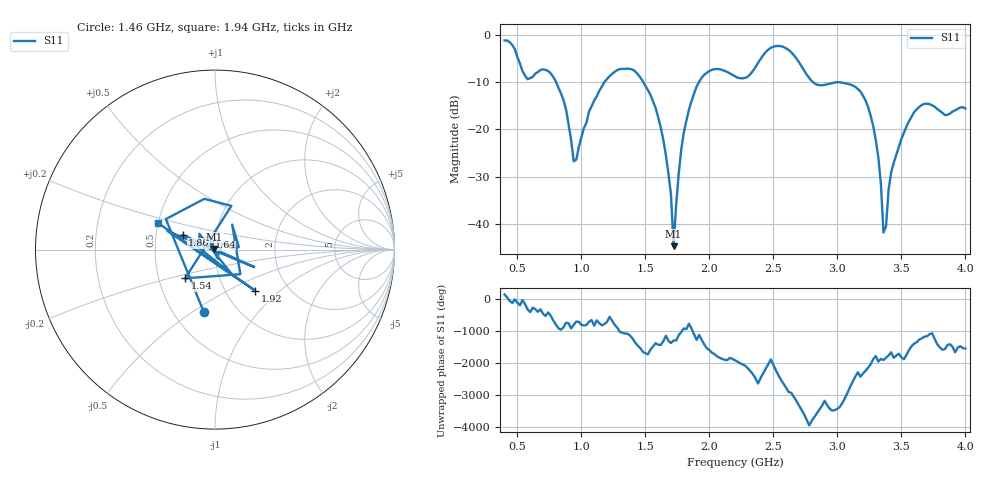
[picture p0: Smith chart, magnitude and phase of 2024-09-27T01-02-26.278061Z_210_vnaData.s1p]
!Created with skrf (http://scikit-rf.org).
# Hz S RI R 50.0
!freq ReS11 ImS11
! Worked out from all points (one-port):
!   181 points, 400 MHz to 4 GHz, reference 50 ohm
!   lowest |S11| = -44.7 dB at 1.72 GHz (marker M1), VSWR 1.01, Z = 49.5 + j0.36 ohm
!   |S11| at or under -10 dB: 802.5 MHz to 1.179 GHz (376.5 MHz wide, 38 % of centre); 1.483 GHz to 1.918 GHz (434.9 MHz wide, 25.6 % of centre); 3.001 GHz to end of sweep (the widest 3 of 4)
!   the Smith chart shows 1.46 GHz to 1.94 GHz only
!   S11 on the Smith chart (normalised r, x): 1.46 GHz: 0.70, -0.56; 1.54 GHz: 0.68, -0.23; 1.64 GHz: 0.92, +0.13; 1.86 GHz: 0.69, +0.12; 1.92 GHz: 1.37, -0.70; 1.94 GHz: 0.50, +0.17
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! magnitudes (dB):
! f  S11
! 400 MHz  -1.2
! 580 MHz  -9.4
! 740 MHz  -7.6
! 860 MHz  -13.8
! 940 MHz  -26.7
! 1.1 GHz  -13.9
! 1.3 GHz  -7.2
! 1.46 GHz  -9.0
! 1.54 GHz  -12.7
! 1.64 GHz  -22.2
! 1.7 GHz  -33.8
! 1.72 GHz  -44.7
! 1.76 GHz  -29.5
! 1.86 GHz  -14.0
! 1.92 GHz  -9.9
! 1.94 GHz  -9.0
! 2.2 GHz  -8.8
! 2.5 GHz  -2.5
! 2.66 GHz  -4.3
! 2.84 GHz  -10.5
! 3.1 GHz  -10.5
! 3.28 GHz  -19.3
! 3.32 GHz  -25.9
! 3.36 GHz  -41.8
! 3.42 GHz  -29.1
! 3.56 GHz  -18.2
! 3.68 GHz  -14.6
! 4 GHz  -15.6
